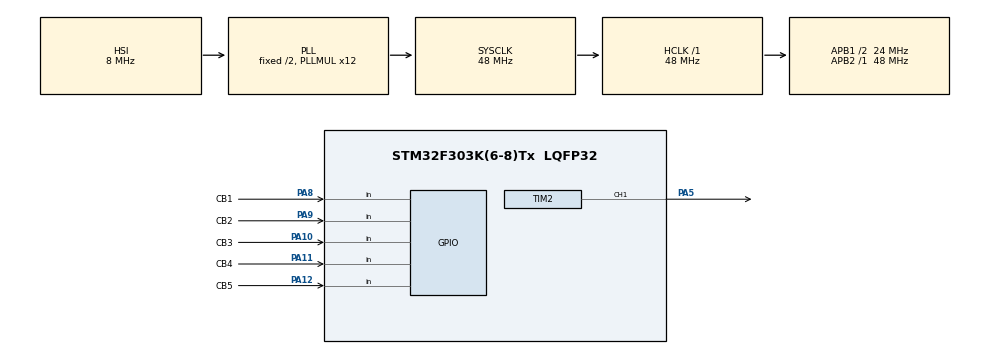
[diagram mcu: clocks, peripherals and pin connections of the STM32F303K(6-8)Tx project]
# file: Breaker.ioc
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Mcu.Family=STM32F3
Dma.TIM2_CH1.0.MemInc=DMA_MINC_ENABLE
RCC.CortexFreq_Value=48000000
NVIC.DMA1_Channel5_IRQn=true\:0\:0\:false\:false\:true\:false\:true
TIM2.OCFastMode_PWM-PWM\ Generation1\ CH1=TIM_OCFAST_DISABLE
PA9.GPIO_Label=CB2
RCC.SYSCLKSourceVirtual=RCC_SYSCLKSOURCE_PLLCLK
PA11.GPIO_Label=CB4
Dma.TIM2_CH1.0.Instance=DMA1_Channel5
RCC.APB1CLKDivider=RCC_HCLK_DIV2
PA12.GPIO_Label=CB5
ProjectManager.StackSize=0x400
PA13.Signal=SYS_JTMS-SWDIO
PA12.Signal=GPIO_Input
PA8.GPIO_Label=CB1
ProjectManager.TargetToolchain=STM32CubeIDE
RCC.HCLKFreq_Value=48000000
RCC.APB2TimFreq_Value=48000000
PA9.Signal=GPIO_Input
RCC.AHBFreq_Value=48000000
PA5.Signal=S_TIM2_CH1_ETR
RCC.HSE_VALUE=8000000
PB3.Mode=Trace_Asynchronous_SW
board=custom
RCC.PLLMUL=RCC_PLL_MUL12
RCC.APB2Freq_Value=48000000
Dma.TIM2_CH1.0.Priority=DMA_PRIORITY_MEDIUM
VP_TIM2_VS_ClockSourceINT.Mode=Internal
PA14.Mode=Trace_Asynchronous_SW
PA10.GPIO_Label=CB3
PA8.Signal=GPIO_Input
TIM2.Channel-PWM\ Generation1\ CH1=TIM_CHANNEL_1
TIM2.Period=60-1
PA13.Mode=Trace_Asynchronous_SW
Mcu.Name=STM32F303K(6-8)Tx
PB3.Signal=SYS_JTDO-TRACESWO
RCC.SYSCLKFreq_VALUE=48000000
Mcu.Package=LQFP32
Dma.TIM2_CH1.0.Mode=DMA_CIRCULAR
PA11.Signal=GPIO_Input
Dma.TIM2_CH1.0.MemDataAlignment=DMA_MDATAALIGN_BYTE
SH.S_TIM2_CH1_ETR.0=TIM2_CH1,PWM Generation1 CH1
PA10.Signal=GPIO_Input
PA14.Signal=SYS_JTCK-SWCLK
PA15.Signal=SYS_JTDI
ProjectManager.HeapSize=0x200
Dma.TIM2_CH1.0.PeriphDataAlignment=DMA_PDATAALIGN_WORD
RCC.HSI_VALUE=8000000
NVIC.PriorityGroup=NVIC_PRIORITYGROUP_4
RCC.APB1TimFreq_Value=48000000
Dma.Request0=TIM2_CH1
RCC.APB1Freq_Value=24000000
Dma.TIM2_CH1.0.Direction=DMA_MEMORY_TO_PERIPH
Dma.TIM2_CH1.0.PeriphInc=DMA_PINC_DISABLE

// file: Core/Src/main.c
/* USER CODE BEGIN Header */
/**
  ******************************************************************************
  * @file           : main.c
  * @brief          : Main program body
  ******************************************************************************
  * @attention
  *
  * <h2><center>&copy; Copyright (c) 2021 STMicroelectronics.
  * All rights reserved.</center></h2>
  *
  * This software component is licensed by ST under Ultimate Liberty license
  * SLA0044, the "License"; You may not use this file except in compliance with
  * the License. You may obtain a copy of the License at:
  *                             www.st.com/SLA0044
  *
  ******************************************************************************
  */
/* USER CODE END Header */
#include "main.h"

/* USER CODE BEGIN Includes */
#include "sk6812.h"
#include "stm32f3xx_hal.h"
/* USER CODE END Includes */

TIM_HandleTypeDef htim2;
DMA_HandleTypeDef hdma_tim2_ch1;

void SystemClock_Config(void);
static void MX_GPIO_Init(void);
static void MX_DMA_Init(void);
static void MX_TIM2_Init(void);
/* USER CODE BEGIN PFP */
uint32_t hsl_to_rgb(uint8_t h, uint8_t s, uint8_t l);
/* USER CODE END PFP */

/* USER CODE BEGIN 0 */
void LED_Load(void)
{
	  uint8_t angle = 0;
	  const uint8_t angle_difference = 15;
	  uint8_t lumin = 255;
	  while (angle<255)
	  {
	    	for(uint8_t i = 0; i < 9 /* Change that to your amount of LEDs */; i++) {
	  			// Calculate color
	  			uint32_t rgb_color = hsl_to_rgb(angle + (i * angle_difference), lumin, 050);
	  			// Set color
	  			led_set_RGB(i, (rgb_color >> 16) & 0xFF, (rgb_color >> 8) & 0xFF, rgb_color & 0xFF);
	  		}
	  		// Write to LED
	    	angle++;
	  		led_render();
	  		// Some delay
	  		HAL_Delay(20);
	    }
	  while (lumin>0)
	  {
	    	for(uint8_t i = 0; i < 9 /* Change that to your amount of LEDs */; i++) {
	  			// Calculate color
	  			uint32_t rgb_color = hsl_to_rgb(angle + (i * angle_difference), lumin, 050);
	  			// Set color
	  			led_set_RGB(i, (rgb_color >> 16) & 0xFF, (rgb_color >> 8) & 0xFF, rgb_color & 0xFF);
	    	}
	  		// Write to LED
	    	angle++;
	    	lumin = lumin-5;
	  		led_render();
	  		// Some delay
	  		HAL_Delay(20);
	    }
}
/* USER CODE END 0 */

int main(void)
{

  /* MCU Configuration--------------------------------------------------------*/

  /* Reset of all peripherals, Initializes the Flash interface and the Systick. */
  HAL_Init();

  /* Configure the system clock */
  SystemClock_Config();

  /* Initialize all configured peripherals */
  MX_GPIO_Init();
  MX_DMA_Init();
  MX_TIM2_Init();
  /* USER CODE BEGIN 2 */
LED_Load();
  /* USER CODE END 2 */

  /* Infinite loop */
  /* USER CODE BEGIN WHILE */
  while (1)
  {
	  for(uint8_t i = 5; i < 9 /* Change that to your amount of LEDs */; i++) {
	  		  			// Set color
	  		  			led_set_RGB(i, 050, 050, 050);
	  		  		}
	  		  		// Write to LED
	  		  		led_render();
	  		  		// Some delay
	  		  		HAL_Delay(5);
	  	if (HAL_GPIO_ReadPin(GPIOA, CB1_Pin)!=1 )
	  	{
	  		// Set color
	  		led_set_RGB(0, 000, 075, 000);
	  		// Write to LED
	  		led_render();
	  		HAL_Delay(5);
	  	}
	  	else
	  	{
	  		// Set color
	  		led_set_RGB(0, 075, 000, 000);
	  		// Write to LED
	  		led_render();
	  		HAL_Delay(5);
	  	}
	  	if (HAL_GPIO_ReadPin(GPIOA, CB2_Pin)!=1 )
	  		  	{
	  		  		// Set color
	  		  		led_set_RGB(1, 000, 075, 000);
	  		  		// Write to LED
	  		  		led_render();
	  		  	HAL_Delay(5);
	  		  	}
	  		  	else
	  		  	{
	  		  		// Set color
	  		  		led_set_RGB(1, 075, 000, 000);
	  		  		// Write to LED
	  		  		led_render();
	  		  	HAL_Delay(5);
	  		  	}
	  	if (HAL_GPIO_ReadPin(GPIOA, CB3_Pin)!=1 )
	  		  	{
	  		  		// Set color
	  		  		led_set_RGB(2, 000, 075, 000);
	  		  		// Write to LED
	  		  		led_render();
	  		  	HAL_Delay(5);
	  		  	}
	  		  	else
	  		  	{
	  		  		// Set color
	  		  		led_set_RGB(2, 075, 000, 000);
	  		  		// Write to LED
	  		  		led_render();
	  		  	HAL_Delay(5);
	  		  	}
	  	if (HAL_GPIO_ReadPin(GPIOA, CB4_Pin)!=1 )
	  		  	{
	  		  		// Set color
	  		  		led_set_RGB(3, 000, 075, 000);
	  		  		// Write to LED
	  		  		led_render();
	  		  	HAL_Delay(5);
	  		  	}
	  		  	else
	  		  	{
	  		  		// Set color
	  		  		led_set_RGB(3, 075, 000, 000);
	  		  		// Write to LED
	  		  		led_render();
	  		  	HAL_Delay(5);
	  		  	}
	  	if (HAL_GPIO_ReadPin(GPIOA, CB5_Pin)!=1 )
	  		  	{
	  		  		// Set color
	  		  		led_set_RGB(4, 000, 075, 000);
	  		  		// Write to LED
	  		  		led_render();
	  		  	HAL_Delay(5);
	  		  	}
	  		  	else
	  		  	{
	  		  		// Set color
	  		  		led_set_RGB(4, 075, 000, 000);
	  		  		// Write to LED
	  		  		led_render();
	  		  	HAL_Delay(5);
	  		  	}
  }
    /* USER CODE END WHILE */

}

void SystemClock_Config(void)
{
  RCC_OscInitTypeDef RCC_OscInitStruct = {0};
  RCC_ClkInitTypeDef RCC_ClkInitStruct = {0};

  /** Initializes the RCC Oscillators according to the specified parameters
  * in the RCC_OscInitTypeDef structure.
  */
  RCC_OscInitStruct.OscillatorType = RCC_OSCILLATORTYPE_HSI;
  RCC_OscInitStruct.HSIState = RCC_HSI_ON;
  RCC_OscInitStruct.HSICalibrationValue = RCC_HSICALIBRATION_DEFAULT;
  RCC_OscInitStruct.PLL.PLLState = RCC_PLL_ON;
  RCC_OscInitStruct.PLL.PLLSource = RCC_PLLSOURCE_HSI;
  RCC_OscInitStruct.PLL.PLLMUL = RCC_PLL_MUL12;
  if (HAL_RCC_OscConfig(&RCC_OscInitStruct) != HAL_OK)
  {
    Error_Handler();
  }
  /** Initializes the CPU, AHB and APB buses clocks
  */
  RCC_ClkInitStruct.ClockType = RCC_CLOCKTYPE_HCLK|RCC_CLOCKTYPE_SYSCLK
                              |RCC_CLOCKTYPE_PCLK1|RCC_CLOCKTYPE_PCLK2;
  RCC_ClkInitStruct.SYSCLKSource = RCC_SYSCLKSOURCE_PLLCLK;
  RCC_ClkInitStruct.AHBCLKDivider = RCC_SYSCLK_DIV1;
  RCC_ClkInitStruct.APB1CLKDivider = RCC_HCLK_DIV2;
  RCC_ClkInitStruct.APB2CLKDivider = RCC_HCLK_DIV1;

  if (HAL_RCC_ClockConfig(&RCC_ClkInitStruct, FLASH_LATENCY_1) != HAL_OK)
  {
    Error_Handler();
  }
}

static void MX_TIM2_Init(void)
{

  TIM_ClockConfigTypeDef sClockSourceConfig = {0};
  TIM_MasterConfigTypeDef sMasterConfig = {0};
  TIM_OC_InitTypeDef sConfigOC = {0};

  htim2.Instance = TIM2;
  htim2.Init.Prescaler = 0;
  htim2.Init.CounterMode = TIM_COUNTERMODE_UP;
  htim2.Init.Period = 60-1;
  htim2.Init.ClockDivision = TIM_CLOCKDIVISION_DIV1;
  htim2.Init.AutoReloadPreload = TIM_AUTORELOAD_PRELOAD_DISABLE;
  if (HAL_TIM_Base_Init(&htim2) != HAL_OK)
  {
    Error_Handler();
  }
  sClockSourceConfig.ClockSource = TIM_CLOCKSOURCE_INTERNAL;
  if (HAL_TIM_ConfigClockSource(&htim2, &sClockSourceConfig) != HAL_OK)
  {
    Error_Handler();
  }
  if (HAL_TIM_PWM_Init(&htim2) != HAL_OK)
  {
    Error_Handler();
  }
  sMasterConfig.MasterOutputTrigger = TIM_TRGO_RESET;
  sMasterConfig.MasterSlaveMode = TIM_MASTERSLAVEMODE_DISABLE;
  if (HAL_TIMEx_MasterConfigSynchronization(&htim2, &sMasterConfig) != HAL_OK)
  {
    Error_Handler();
  }
  sConfigOC.OCMode = TIM_OCMODE_PWM1;
  sConfigOC.Pulse = 0;
  sConfigOC.OCPolarity = TIM_OCPOLARITY_HIGH;
  sConfigOC.OCFastMode = TIM_OCFAST_DISABLE;
  if (HAL_TIM_PWM_ConfigChannel(&htim2, &sConfigOC, TIM_CHANNEL_1) != HAL_OK)
  {
    Error_Handler();
  }
  HAL_TIM_MspPostInit(&htim2);

}

static void MX_DMA_Init(void)
{

  /* DMA controller clock enable */
  __HAL_RCC_DMA1_CLK_ENABLE();

  /* DMA interrupt init */
  /* DMA1_Channel5_IRQn interrupt configuration */
  HAL_NVIC_SetPriority(DMA1_Channel5_IRQn, 0, 0);
  HAL_NVIC_EnableIRQ(DMA1_Channel5_IRQn);

}

static void MX_GPIO_Init(void)
{
  GPIO_InitTypeDef GPIO_InitStruct = {0};

  /* GPIO Ports Clock Enable */
  __HAL_RCC_GPIOA_CLK_ENABLE();
  __HAL_RCC_GPIOB_CLK_ENABLE();

  /*Configure GPIO pins : CB1_Pin CB2_Pin CB3_Pin CB4_Pin
                           CB5_Pin */
  GPIO_InitStruct.Pin = CB1_Pin|CB2_Pin|CB3_Pin|CB4_Pin
                          |CB5_Pin;
  GPIO_InitStruct.Mode = GPIO_MODE_INPUT;
  GPIO_InitStruct.Pull = GPIO_NOPULL;
  HAL_GPIO_Init(GPIOA, &GPIO_InitStruct);

}

/* USER CODE BEGIN 4 */
uint32_t hsl_to_rgb(uint8_t h, uint8_t s, uint8_t l) {
	if(l == 0) return 0;

	volatile uint8_t  r, g, b, lo, c, x, m;
	volatile uint16_t h1, l1, H;
	l1 = l + 1;
	if (l < 128)    c = ((l1 << 1) * s) >> 8;
	else            c = (512 - (l1 << 1)) * s >> 8;

	H = h * 6;              // 0 to 1535 (actually 1530)
	lo = H & 255;           // Low byte  = primary/secondary color mix
	h1 = lo + 1;

	if ((H & 256) == 0)   x = h1 * c >> 8;          // even sextant, like red to yellow
	else                  x = (256 - h1) * c >> 8;  // odd sextant, like yellow to green

	m = l - (c >> 1);
	switch(H >> 8) {       // High byte = sextant of colorwheel
	 case 0 : r = c; g = x; b = 0; break; // R to Y
	 case 1 : r = x; g = c; b = 0; break; // Y to G
	 case 2 : r = 0; g = c; b = x; break; // G to C
	 case 3 : r = 0; g = x; b = c; break; // C to B
	 case 4 : r = x; g = 0; b = c; break; // B to M
	 default: r = c; g = 0; b = x; break; // M to R
	}

	return (((uint32_t)r + m) << 16) | (((uint32_t)g + m) << 8) | ((uint32_t)b + m);
}
/* USER CODE END 4 */

void Error_Handler(void)
{
  __disable_irq();
  while (1)
  {
  }
}

/************************ (C) COPYRIGHT STMicroelectronics *****END OF FILE****/
